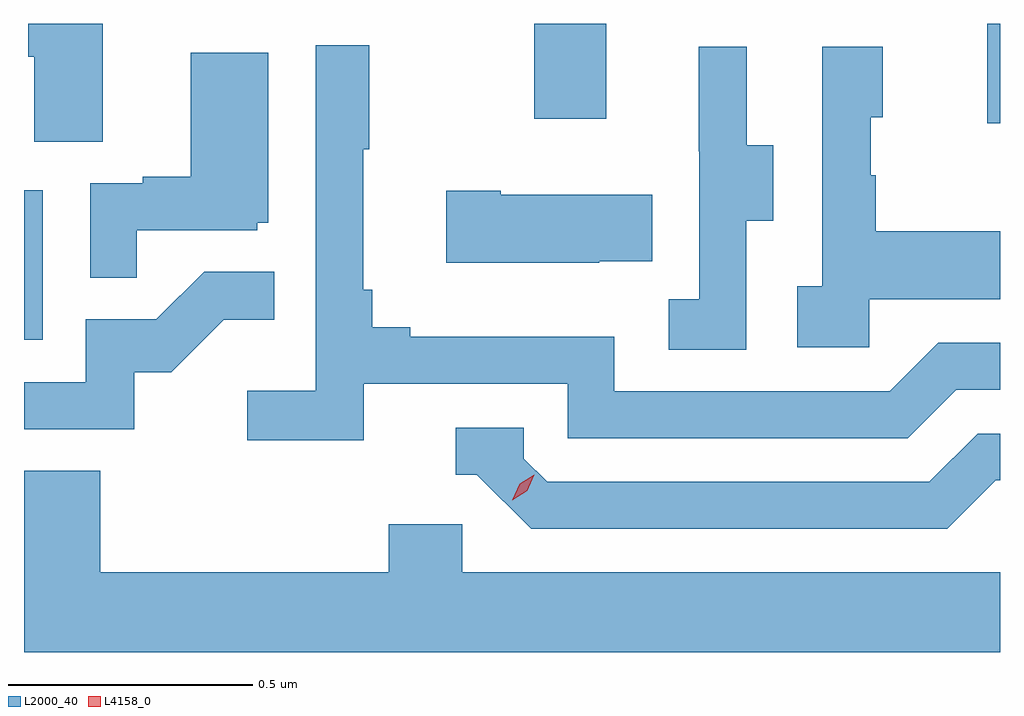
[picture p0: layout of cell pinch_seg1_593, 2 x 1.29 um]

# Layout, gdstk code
import gdstk
lib = gdstk.Library(unit=1e-6, precision=1e-09)
def R(c, l, rs):  # rectangles x0, y0, x1, y1
    for r in rs: c.add(gdstk.rectangle(r[:2], r[2:], *l))
def P(c, l, *ps):  # polygons
    for p in ps: c.add(gdstk.Polygon(p, *l))
L2000_40 = (2000, 40)
L4158_0 = (4158, 0)

pinch_seg1_593 = lib.new_cell('pinch_seg1_593')
R(pinch_seg1_593, L2000_40, [(1035.242,509.748,1035.28,510.055), (1037.216,510.192,1037.242,510.396), (1036.288,510.201,1036.435,510.396)])
P(pinch_seg1_593, L2000_40, [(1035.403,510.396),(1035.251,510.396),(1035.251,510.328),(1035.263,510.328),(1035.263,510.154),(1035.403,510.154)],
  [(1035.938,509.658),(1036.356,509.658),(1036.356,509.547),(1037.053,509.547),(1037.152,509.646),(1037.242,509.646),(1037.242,509.742),(1037.115,509.742),(1037.016,509.643),(1036.452,509.643),(1036.452,509.755),(1036.033,509.755),(1036.033,509.774),(1035.956,509.774),(1035.956,509.851),(1035.937,509.851),(1035.937,510.139),(1035.949,510.139),(1035.949,510.352),(1035.84,510.352),(1035.84,509.644),(1035.699,509.644),(1035.699,509.542),(1035.938,509.542)],
  [(1036.722,509.992),(1036.777,509.992),(1036.777,510.147),(1036.723,510.147),(1036.723,510.349),(1036.625,510.349),(1036.625,510.135),(1036.626,510.135),(1036.626,509.831),(1036.563,509.831),(1036.563,509.728),(1036.722,509.728)],
  [(1036.974,509.831),(1037.242,509.831),(1037.242,509.971),(1036.987,509.971),(1036.987,510.086),(1036.977,510.086),(1036.977,510.204),(1037.002,510.204),(1037.002,510.349),(1036.878,510.349),(1036.878,509.858),(1036.827,509.858),(1036.827,509.733),(1036.974,509.733)],
  [(1035.473,509.973),(1035.72,509.973),(1035.72,509.988),(1035.742,509.988),(1035.742,510.337),(1035.584,510.337),(1035.584,510.082),(1035.485,510.082),(1035.485,510.069),(1035.378,510.069),(1035.378,509.875),(1035.473,509.875)],
  [(1036.421,509.909),(1036.529,509.909),(1036.529,510.046),(1036.219,510.046),(1036.219,510.054),(1036.107,510.054),(1036.107,509.906),(1036.421,509.906)],
  [(1035.468,509.682),(1035.544,509.682),(1035.651,509.789),(1035.755,509.789),(1035.755,509.888),(1035.611,509.888),(1035.513,509.79),(1035.369,509.79),(1035.369,509.661),(1035.242,509.661),(1035.242,509.565),(1035.468,509.565)],
  [(1037.233,509.46),(1037.242,509.46),(1037.242,509.556),(1037.196,509.556),(1037.097,509.457),(1036.314,509.457),(1036.266,509.505),(1036.266,509.568),(1036.127,509.568),(1036.127,509.472),(1036.17,509.472),(1036.281,509.361),(1037.134,509.361)],
  [(1037.242,509.272),(1036.14,509.272),(1036.14,509.37),(1035.989,509.37),(1035.989,509.272),(1035.398,509.272),(1035.398,509.48),(1035.242,509.48),(1035.242,509.108),(1037.242,509.108)])
P(pinch_seg1_593, L4158_0, [(1036.242,509.42),(1036.242,509.42),(1036.258,509.453),(1036.288,509.472),(1036.288,509.472),(1036.288,509.472),(1036.273,509.439),(1036.242,509.42)])

lib.write_gds('pinch_seg1_593.gds')
